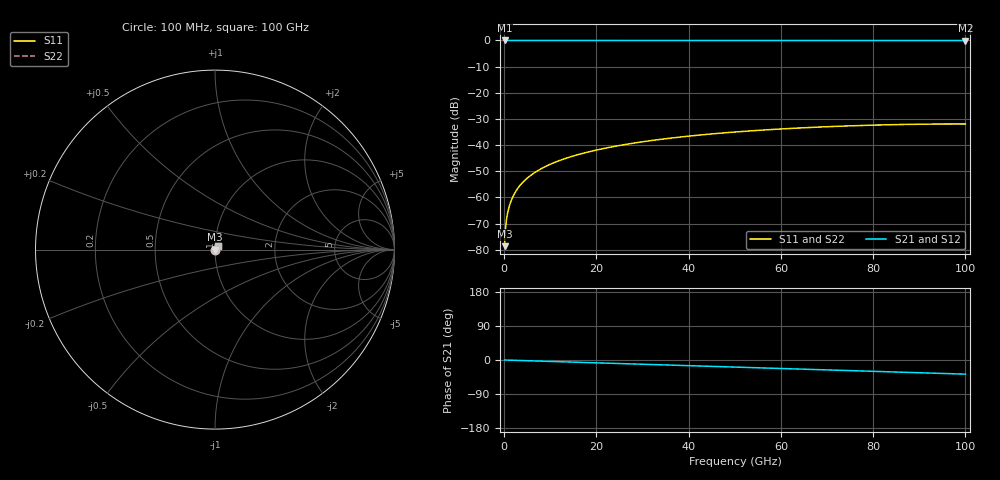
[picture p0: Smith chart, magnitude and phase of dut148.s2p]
! Touchstone file exported from HFSS 2026.1.0
!  File:  C:/ffzhzh/LocalFiles/Ansys_Project_Files/temp_train_TSV_148_1783506567_41296.aedt
!  Generated:  06:30:47 PM Jul  8, 2026
!  Design:  TSV
!  Project:  temp_train_TSV_148_1783506567_41296
! Variables:
!  h_bsmrdl = 2um
!  h_ox = 20um
!  h_rdl = 5um
!  h_sub = 71.73um
!  h_tmrdl = 5um
!  h_tsv = 71.73um
!  h_via = 3um
!  l_bsmrdl = 300um
!  l_sub = 424.18um
!  l_tmrdl = 200um
!  m_sub = 200um
!  pitch = 51.49um
!  r_tsv = 12.09um
!  s_tmrdl = 10um
!  w_bsmrdl = 18um
!  w_sub = 500um
!  w_tmrdl = 12um
!  x_tsv_center1 = 206um
!  x_tsv_center2 = 524um
!  x_tsv_center3 = 736um
!  x_tsv_center4 = 1054um
!  x_tsv_center5 = 1266um
!  x_tsv_center6 = 1584um
# GHz S MA R 50.000000
! Terminal data exported
! Port[1] = TSV1_1_T1
! Port[2] = TSV1_1_T2
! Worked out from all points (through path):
!   1000 points, 100 MHz to 100 GHz, reference 50 ohm
!   highest |S21| = 0.00 dB at 100 MHz (marker M1); lowest = 0.0 dB at 100 GHz (marker M2)
!   group delay of S21, straight-line fit = 1.04 ps
!   lowest |S11| = -78.6 dB at 100 MHz (marker M3), VSWR 1.00, Z = 50 + j0.00772 ohm
!   |S11| at or under -10 dB: start of sweep to end of sweep
!   |S22| runs from -78.6 to -31.9 dB; largest |S21 - S12| = 3.5e-15
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0.1  0.0001171 41.2  0.9999 -0.0  0.9999 -0.0  0.0001171 41.2
! Gamma 0 0 0 0
! Port Impedance 50 0 50 0
0.4  0.0003113 63.9  0.9999 -0.2  0.9999 -0.2  0.0003113 63.9
0.7  0.0004772 66.4  0.9998 -0.3  0.9998 -0.3  0.0004772 66.4
0.8  0.000527 67.0  0.9998 -0.3  0.9998 -0.3  0.000527 67.0
1  0.0006228 68.2  0.9998 -0.4  0.9998 -0.4  0.0006228 68.2
1.3  0.0007615 69.7  0.9997 -0.5  0.9997 -0.5  0.0007615 69.7
1.8  0.0009874 71.6  0.9997 -0.7  0.9997 -0.7  0.0009874 71.6
2.4  0.001252 73.0  0.9997 -0.9  0.9997 -0.9  0.001252 73.0
3.1  0.001552 74.0  0.9996 -1.2  0.9996 -1.2  0.001552 74.0
3.9  0.001886 74.8  0.9996 -1.5  0.9996 -1.5  0.001886 74.8
4.9  0.002294 75.5  0.9995 -1.8  0.9995 -1.8  0.002294 75.5
6.1  0.002775 76.1  0.9994 -2.3  0.9994 -2.3  0.002775 76.1
8.9  0.003879 76.6  0.9993 -3.3  0.9993 -3.3  0.003879 76.6
12.4  0.005228 76.4  0.9992 -4.6  0.9992 -4.6  0.005228 76.4
16.8  0.006874 75.8  0.999 -6.3  0.999 -6.3  0.006874 75.8
24.2  0.009553 74.2  0.9988 -9.0  0.9988 -9.0  0.009553 74.2
33.4  0.01272 71.7  0.9986 -12.4  0.9986 -12.4  0.01272 71.7
41.3  0.01525 69.2  0.9984 -15.4  0.9984 -15.4  0.01525 69.2
50.1  0.01782 66.3  0.9982 -18.7  0.9982 -18.7  0.01782 66.3
66.7  0.02182 60.5  0.9978 -24.8  0.9978 -24.8  0.02182 60.5
83.4  0.02449 54.5  0.9975 -31.1  0.9975 -31.1  0.02449 54.5
100  0.02533 48.5  0.9971 -37.4  0.9971 -37.4  0.02533 48.4
